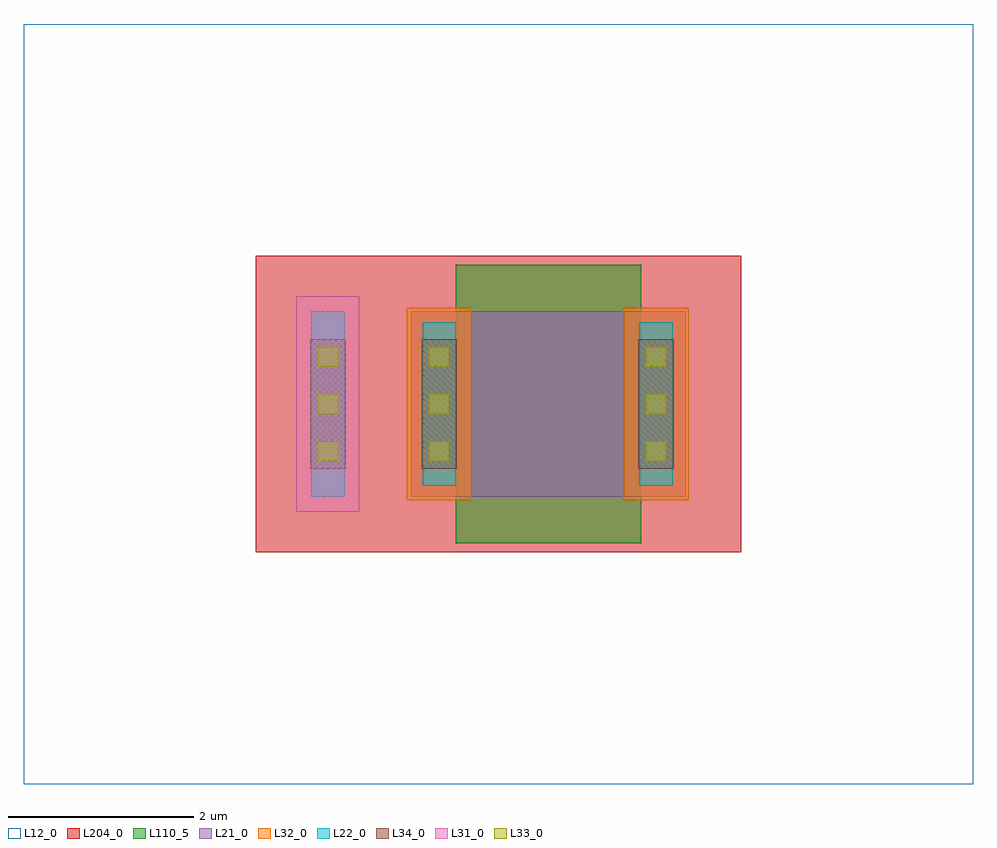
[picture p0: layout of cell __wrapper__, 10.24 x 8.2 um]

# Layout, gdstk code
import gdstk
lib = gdstk.Library(unit=1e-6, precision=1e-09)
def R(c, l, rs):  # rectangles x0, y0, x1, y1
    for r in rs: c.add(gdstk.rectangle(r[:2], r[2:], *l))
def A(c, l, x, y, w, h, nx, ny, dx, dy):  # array of equal rectangles
    R(c, l, [(x+i*dx, y+j*dy, x+i*dx+w, y+j*dy+h) for i in range(nx) for j in range(ny)])
L12_0 = (12, 0)
L21_0 = (21, 0)
L22_0 = (22, 0)
L31_0 = (31, 0)
L32_0 = (32, 0)
L33_0 = (33, 0)
L34_0 = (34, 0)
L110_5 = (110, 5)
L204_0 = (204, 0)

c___wrapper__ = lib.new_cell('__wrapper__')
R(c___wrapper__, L12_0, [(-4.66,-2.6,5.58,5.6)])
R(c___wrapper__, L21_0, [(-0.48,0.5,2.48,2.5)])
R(c___wrapper__, L22_0, [(-1.56,0.5,-1.2,2.5), (-0.36,0.62,0,2.38), (1.98,0.62,2.34,2.38)])
R(c___wrapper__, L31_0, [(-1.72,0.34,-1.04,2.66)])
R(c___wrapper__, L32_0, [(-0.53,0.46,0.17,2.54), (1.81,0.46,2.51,2.54)])
A(c___wrapper__, L33_0, -1.49, 0.88, 0.22, 0.22, 1, 3, 0, 0.51)
A(c___wrapper__, L33_0, -0.29, 0.88, 0.22, 0.22, 1, 3, 0, 0.51)
A(c___wrapper__, L33_0, 2.05, 0.88, 0.22, 0.22, 1, 3, 0, 0.51)
R(c___wrapper__, L34_0, [(-1.57,0.8,-1.19,2.2), (-0.37,0.8,0.01,2.2), (1.97,0.8,2.35,2.2)])
R(c___wrapper__, L110_5, [(0,0,2,3)])
R(c___wrapper__, L204_0, [(-2.16,-0.1,3.08,3.1)])

lib.write_gds('__wrapper__.gds')
